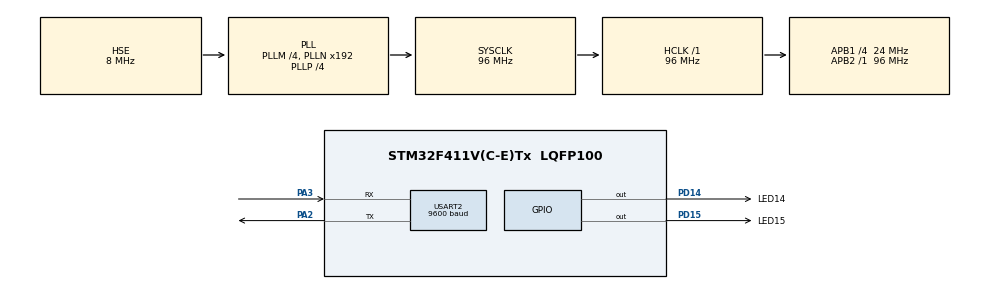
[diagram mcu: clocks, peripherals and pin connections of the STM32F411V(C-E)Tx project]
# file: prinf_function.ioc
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Mcu.Family=STM32F4
Mcu.Name=STM32F411V(C-E)Tx
Mcu.Package=LQFP100
NVIC.PriorityGroup=NVIC_PRIORITYGROUP_0
PA2.Mode=Asynchronous
PA2.Signal=USART2_TX
PA3.Mode=Asynchronous
PA3.Signal=USART2_RX
PD14.GPIO_Label=LED14
PD14.Signal=GPIO_Output
PD15.GPIO_Label=LED15
PD15.Signal=GPIO_Output
PH0\ -\ OSC_IN.Mode=HSE-External-Oscillator
PH0\ -\ OSC_IN.Signal=RCC_OSC_IN
PH1\ -\ OSC_OUT.Mode=HSE-External-Oscillator
PH1\ -\ OSC_OUT.Signal=RCC_OSC_OUT
ProjectManager.HeapSize=0x200
ProjectManager.StackSize=0x400
ProjectManager.TargetToolchain=STM32CubeIDE
RCC.48MHZClocksFreq_Value=48000000
RCC.AHBFreq_Value=96000000
RCC.APB1CLKDivider=RCC_HCLK_DIV4
RCC.APB1Freq_Value=24000000
RCC.APB1TimFreq_Value=48000000
RCC.APB2Freq_Value=96000000
RCC.APB2TimFreq_Value=96000000
RCC.CortexFreq_Value=96000000
RCC.HCLKFreq_Value=96000000
RCC.HSE_VALUE=8000000
RCC.HSI_VALUE=16000000
RCC.PLLI2SM=5
RCC.PLLI2SN=200
RCC.PLLM=4
RCC.PLLP=RCC_PLLP_DIV4
RCC.PLLQ=8
RCC.PLLSourceVirtual=RCC_PLLSOURCE_HSE
RCC.SYSCLKFreq_VALUE=96000000
RCC.SYSCLKSource=RCC_SYSCLKSOURCE_PLLCLK
RCC.VCOOutputFreq_Value=384000000
USART2.BaudRate=9600
USART2.VirtualMode=VM_ASYNC
board=STM32F411E-DISCO

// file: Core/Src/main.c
/* USER CODE BEGIN Header */
/**
  ******************************************************************************
  * @file           : main.c
  * @brief          : Main program body
  ******************************************************************************
  * @attention
  *
  * Copyright (c) 2024 STMicroelectronics.
  * All rights reserved.
  *
  * This software is licensed under terms that can be found in the LICENSE file
  * in the root directory of this software component.
  * If no LICENSE file comes with this software, it is provided AS-IS.
  *
  ******************************************************************************
  */
/* USER CODE END Header */
#include "main.h"

/* USER CODE BEGIN Includes */
#include <stdio.h>
#include "stm32f4xx_hal.h"
/* USER CODE END Includes */

UART_HandleTypeDef huart2;

/* USER CODE BEGIN PV */

uint8_t number=5;
uint32_t data_rx = 0;
uint32_t data_tx = 68;

/* USER CODE END PV */

void SystemClock_Config(void);
static void MX_GPIO_Init(void);
static void MX_USART2_UART_Init(void);

/* USER CODE BEGIN 0 */
/*int _write(int file, char *ptr, int len)
{
	//HAL_UART_Transmit(&huart2, (uint8_t*)ptr, len, HAL_MAX_DELAY);
	//HAL_UART_Receive(&huart2, (uint8_t*)ptr, len, HAL_MAX_DELAY);
	return len;
}*/

/*int __io_putchar(int ch)
{
	HAL_UART_Transmit(&huart2, (uint8_t*)ch, 1,1000);

  return ch;
}*/

/*int _write(int file, char *ptr, int len)
{
  (void)file;
  int DataIdx;

  for (DataIdx = 0; DataIdx < len; DataIdx++)
  {
    __io_putchar(*ptr++);
  }
  return len;
}*/
/*int _read(int file, char *ptr, int len){
	HAL_UART_Receive(&huart2, (uint8_t*)ptr, len, HAL_MAX_DELAY);
	return len;
}*/

// Redirect printf on USART2
int __io_putchar(int ch)
{
  uint8_t c[1];
  //c[0] = ch & 0x00FF;
  c[0] = 68;
  HAL_UART_Transmit(&huart2, &*c, 1, 1000);
  return ch;
}

/*int _write(int file,char ptr, int len)
{
  int DataIdx;
  for(DataIdx= 0; DataIdx< len; DataIdx++)
  {
    __io_putchar(ptr++);
  }
  return len;
}*/

/*
int _write(int le, char *ptr, int len)
{
int DataIdx;
for(DataIdx = 0; DataIdx < len; DataIdx++)
{
ITM_SendChar(*ptr++);
}
return len;
}
*/

/*int _write(int file,char ptr, int len)
{
   __io_putchar(ptr);

  return len;
}*/

/*int __io_putchar(int ch){
	HAL_UART_Transmit(&huart2, (uint8_t*)ch, 1,1000);
	return ch;
}*/

/* USER CODE END 0 */

int main(void)
{

  /* USER CODE BEGIN 1 */

	uint32_t counter=0;

  /* USER CODE END 1 */

  /* MCU Configuration--------------------------------------------------------*/

  /* Reset of all peripherals, Initializes the Flash interface and the Systick. */
  HAL_Init();

  /* Configure the system clock */
  SystemClock_Config();

  /* Initialize all configured peripherals */
  MX_GPIO_Init();
  MX_USART2_UART_Init();
  /* USER CODE BEGIN 2 */

  //USART2->DR = data_tx;
  void yaz(void){

      //printf("G%d\r\n",counter++);
	  printf('x');

      return 0;
  }

  /* USER CODE END 2 */

  /* Infinite loop */
  while (1)
  {

    /* USER CODE BEGIN 3 */
	  //HAL_GPIO_WritePin(LED15_GPIO_Port,LED15_Pin, GPIO_PIN_SET);
	  //HAL_Delay(1000);
	  //printf("number : %d\r\n",counter++);
	  printf("");
	  //printf("number1 : %d\r\n",counter++);
	  //printf("x");
	  HAL_Delay(500);
	  //USART2->DR=66;
	  //data_rx = USART2->DR;

	  //yaz();
	  //HAL_Delay(1000);
  }
  /* USER CODE END 3 */
}

void SystemClock_Config(void)
{
  RCC_OscInitTypeDef RCC_OscInitStruct = {0};
  RCC_ClkInitTypeDef RCC_ClkInitStruct = {0};

  /** Configure the main internal regulator output voltage
  */
  __HAL_RCC_PWR_CLK_ENABLE();
  __HAL_PWR_VOLTAGESCALING_CONFIG(PWR_REGULATOR_VOLTAGE_SCALE1);

  /** Initializes the RCC Oscillators according to the specified parameters
  * in the RCC_OscInitTypeDef structure.
  */
  RCC_OscInitStruct.OscillatorType = RCC_OSCILLATORTYPE_HSE;
  RCC_OscInitStruct.HSEState = RCC_HSE_ON;
  RCC_OscInitStruct.PLL.PLLState = RCC_PLL_ON;
  RCC_OscInitStruct.PLL.PLLSource = RCC_PLLSOURCE_HSE;
  RCC_OscInitStruct.PLL.PLLM = 4;
  RCC_OscInitStruct.PLL.PLLN = 192;
  RCC_OscInitStruct.PLL.PLLP = RCC_PLLP_DIV4;
  RCC_OscInitStruct.PLL.PLLQ = 8;
  if (HAL_RCC_OscConfig(&RCC_OscInitStruct) != HAL_OK)
  {
    Error_Handler();
  }

  /** Initializes the CPU, AHB and APB buses clocks
  */
  RCC_ClkInitStruct.ClockType = RCC_CLOCKTYPE_HCLK|RCC_CLOCKTYPE_SYSCLK
                              |RCC_CLOCKTYPE_PCLK1|RCC_CLOCKTYPE_PCLK2;
  RCC_ClkInitStruct.SYSCLKSource = RCC_SYSCLKSOURCE_PLLCLK;
  RCC_ClkInitStruct.AHBCLKDivider = RCC_SYSCLK_DIV1;
  RCC_ClkInitStruct.APB1CLKDivider = RCC_HCLK_DIV4;
  RCC_ClkInitStruct.APB2CLKDivider = RCC_HCLK_DIV1;

  if (HAL_RCC_ClockConfig(&RCC_ClkInitStruct, FLASH_LATENCY_3) != HAL_OK)
  {
    Error_Handler();
  }
}

static void MX_USART2_UART_Init(void)
{

  huart2.Instance = USART2;
  huart2.Init.BaudRate = 9600;
  huart2.Init.WordLength = UART_WORDLENGTH_8B;
  huart2.Init.StopBits = UART_STOPBITS_1;
  huart2.Init.Parity = UART_PARITY_NONE;
  huart2.Init.Mode = UART_MODE_TX_RX;
  huart2.Init.HwFlowCtl = UART_HWCONTROL_NONE;
  huart2.Init.OverSampling = UART_OVERSAMPLING_16;
  if (HAL_UART_Init(&huart2) != HAL_OK)
  {
    Error_Handler();
  }

}

static void MX_GPIO_Init(void)
{
  GPIO_InitTypeDef GPIO_InitStruct = {0};

  /* GPIO Ports Clock Enable */
  __HAL_RCC_GPIOH_CLK_ENABLE();
  __HAL_RCC_GPIOA_CLK_ENABLE();
  __HAL_RCC_GPIOD_CLK_ENABLE();

  /*Configure GPIO pin Output Level */
  HAL_GPIO_WritePin(GPIOD, LED14_Pin|LED15_Pin, GPIO_PIN_RESET);

  /*Configure GPIO pins : LED14_Pin LED15_Pin */
  GPIO_InitStruct.Pin = LED14_Pin|LED15_Pin;
  GPIO_InitStruct.Mode = GPIO_MODE_OUTPUT_PP;
  GPIO_InitStruct.Pull = GPIO_NOPULL;
  GPIO_InitStruct.Speed = GPIO_SPEED_FREQ_LOW;
  HAL_GPIO_Init(GPIOD, &GPIO_InitStruct);

}

/* USER CODE BEGIN 4 */

void send_time_string()
{

	//uint32_t n = 0;
	static uint32_t time;
	time++;

	//n = UART_bytes_to_read();
	//printf("Zaman:%u gelen_veri boyutu[byte]:%u Buton Durum:%u\n\r", (unsigned int)time, (unsigned int)n, (unsigned int)button_get_state());
}

/* USER CODE END 4 */

void Error_Handler(void)
{
  __disable_irq();
  while (1)
  {
  }
}
